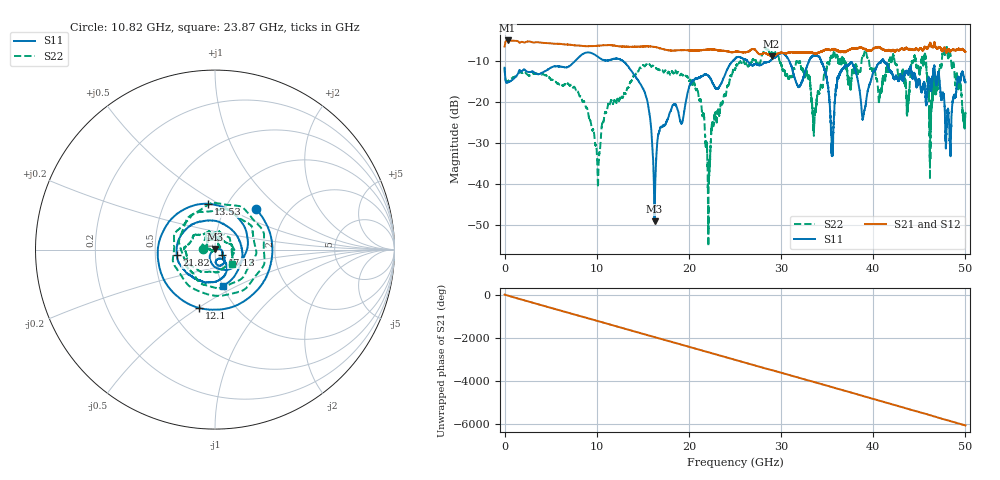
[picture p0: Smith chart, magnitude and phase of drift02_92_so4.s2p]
!Created with skrf (http://scikit-rf.org).
# Hz S RI R 50.0
!freq ReS11 ImS11 ReS21 ImS21 ReS12 ImS12 ReS22 ImS22
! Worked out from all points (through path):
!   10001 points, 300 kHz to 50 GHz, reference 50 ohm
!   highest |S21| = -5.04 dB at 325.3 MHz (marker M1); lowest = -8.9 dB at 28.98 GHz (marker M2)
!   group delay of S21, straight-line fit = 336 ps
!   lowest |S11| = -49.2 dB at 16.27 GHz (marker M3), VSWR 1.01, Z = 49.9 + j0.315 ohm
!   |S11| at or under -10 dB: start of sweep to 7.668 GHz; 12.81 GHz to 24.78 GHz (11.96 GHz wide, 63.6 % of centre); 41.14 GHz to end of sweep (the widest 3 of 11)
!   |S22| runs from -55.2 to -6.6 dB; largest |S21 - S12| = 0.032
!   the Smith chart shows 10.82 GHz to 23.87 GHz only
!   S11 on the Smith chart (normalised r, x): 10.82 GHz: 1.39, +0.70; 12.1 GHz: 0.69, -0.50; 13.53 GHz: 0.82, +0.45; 17.13 GHz: 1.08, -0.06; 21.82 GHz: 0.65, -0.04; 23.87 GHz: 1.01, -0.42
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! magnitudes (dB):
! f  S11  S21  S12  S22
! 300 kHz  -11.7  -6.5  -6.5  -11.7
! 325.3 MHz  -15.3  -5.0  -5.0  -15.1
! 8.335 GHz  -8.6  -6.4  -6.4  -19.1
! 10.11 GHz  -9.0  -6.3  -6.3  -39.1
! 10.82 GHz  -9.9  -6.2  -6.2  -23.6
! 12.1 GHz  -9.5  -6.4  -6.4  -20.4
! 13.53 GHz  -11.8  -6.6  -6.6  -16.0
! 16.27 GHz  -49.2  -6.6  -6.6  -11.6
! 16.67 GHz  -28.1  -6.8  -6.8  -12.1
! 17.13 GHz  -26.0  -7.1  -7.1  -12.3
! 21.82 GHz  -13.3  -7.3  -7.3  -30.0
! 23.87 GHz  -13.7  -7.6  -7.6  -18.2
! 25 GHz  -9.5  -7.8  -7.8  -12.0
! 28.98 GHz  -9.7  -8.9  -8.9  -7.9
! 33.34 GHz  -9.1  -8.0  -8.0  -20.2
! 35.55 GHz  -33.3  -7.2  -7.2  -9.2
! 36.79 GHz  -11.7  -7.8  -8.0  -9.7
! 41.67 GHz  -11.8  -7.4  -7.5  -12.1
! 45.5 GHz  -15.5  -6.9  -6.9  -9.8
! 46.25 GHz  -17.3  -6.1  -6.2  -27.5
! 48.12 GHz  -21.6  -7.2  -7.1  -9.0
! 50 GHz  -15.3  -7.8  -7.8  -23.0
